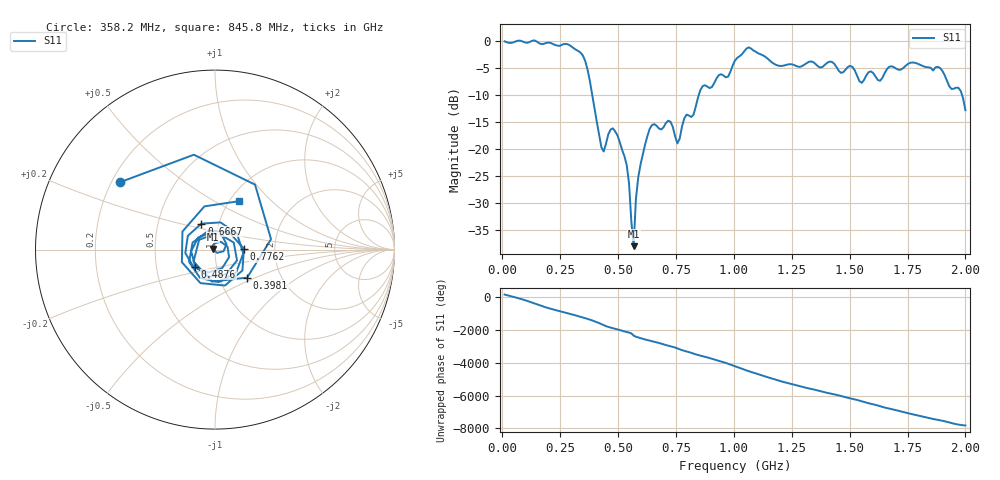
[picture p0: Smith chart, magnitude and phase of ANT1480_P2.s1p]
!Created with skrf (http://scikit-rf.org).
# Hz S RI R 50.0
!freq ReS11 ImS11
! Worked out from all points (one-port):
!   201 points, 10 MHz to 2 GHz, reference 50 ohm
!   lowest |S11| = -38.0 dB at 567.2 MHz (marker M1), VSWR 1.03, Z = 48.8 + j0.273 ohm
!   |S11| at or under -10 dB: 388.2 MHz to 848.8 MHz (460.6 MHz wide, 74.5 % of centre); 1.985 GHz to end of sweep
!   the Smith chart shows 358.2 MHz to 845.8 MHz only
!   S11 on the Smith chart (normalised r, x): 358.2 MHz: 0.23, +0.30; 398.1 MHz: 1.35, -0.45; 487.6 MHz: 0.79, -0.15; 666.7 MHz: 0.83, +0.25; 776.1 MHz: 1.38, +0.01; 845.8 MHz: 1.11, +0.66
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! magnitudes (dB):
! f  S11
! 10 MHz  -0.1
! 258.8 MHz  -0.7
! 358.2 MHz  -3.7
! 398.1 MHz  -12.5
! 437.9 MHz  -20.5
! 467.7 MHz  -16.4
! 487.6 MHz  -16.8
! 507.5 MHz  -18.8
! 537.4 MHz  -23.0
! 567.2 MHz  -38.0
! 577.1 MHz  -29.2
! 597 MHz  -22.9
! 636.9 MHz  -16.2
! 666.7 MHz  -15.7
! 726.4 MHz  -15.0
! 756.2 MHz  -19.0
! 776.1 MHz  -15.9
! 845.8 MHz  -10.4
! 975.1 MHz  -6.6
! 1.005 GHz  -3.6
! 1.065 GHz  -1.2
! 1.254 GHz  -4.4
! 1.502 GHz  -4.6
! 1.552 GHz  -7.8
! 1.751 GHz  -4.3
! 1.891 GHz  -5.0
! 1.98 GHz  -9.3
! 2 GHz  -12.8
